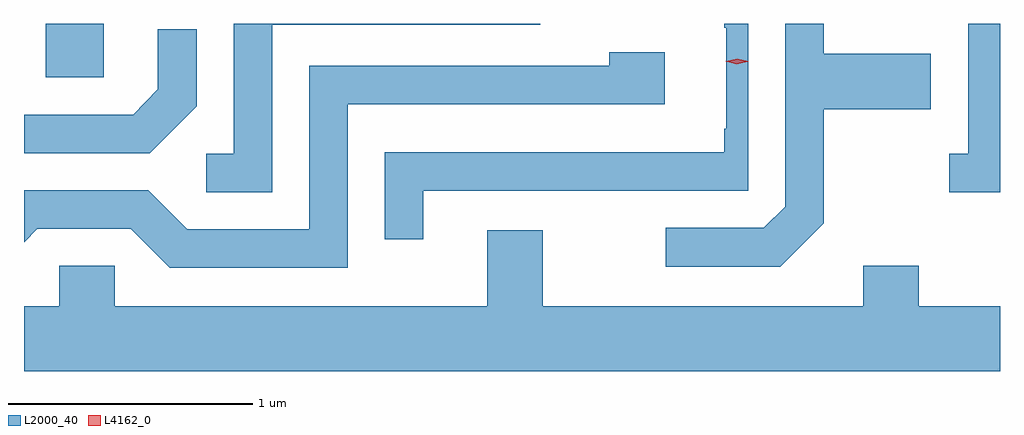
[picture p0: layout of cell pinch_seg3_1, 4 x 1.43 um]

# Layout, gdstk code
import gdstk
lib = gdstk.Library(unit=1e-6, precision=1e-09)
def R(c, l, rs):  # rectangles x0, y0, x1, y1
    for r in rs: c.add(gdstk.rectangle(r[:2], r[2:], *l))
def P(c, l, *ps):  # polygons
    for p in ps: c.add(gdstk.Polygon(p, *l))
L2000_40 = (2000, 40)
L4162_0 = (4162, 0)

pinch_seg3_1 = lib.new_cell('pinch_seg3_1')
R(pinch_seg3_1, L2000_40, [(842.201,1253.761,842.439,1253.982)])
P(pinch_seg3_1, L2000_40, [(843.749,1253.296),(845.081,1253.296),(845.081,1253.982),(844.981,1253.982),(844.981,1253.965),(844.99,1253.965),(844.99,1253.55),(844.981,1253.55),(844.981,1253.454),(843.591,1253.454),(843.591,1253.098),(843.749,1253.098)],
  [(846.112,1253.982),(845.981,1253.982),(845.981,1253.449),(845.903,1253.449),(845.903,1253.291),(846.112,1253.291)],
  [(845.389,1253.164),(845.389,1253.631),(845.829,1253.631),(845.829,1253.859),(845.389,1253.859),(845.389,1253.982),(845.231,1253.982),(845.231,1253.232),(845.144,1253.144),(844.743,1253.144),(844.743,1252.986),(845.212,1252.986)],
  [(843.129,1253.976),(844.228,1253.976),(844.228,1253.982),(842.971,1253.982),(842.971,1253.449),(842.858,1253.449),(842.858,1253.291),(843.129,1253.291)],
  [(842.819,1253.644),(842.819,1253.958),(842.661,1253.958),(842.661,1253.712),(842.559,1253.609),(842.112,1253.609),(842.112,1253.451),(842.627,1253.451)],
  [(843.439,1253.651),(844.739,1253.651),(844.739,1253.864),(844.511,1253.864),(844.511,1253.809),(843.281,1253.809),(843.281,1253.139),(842.782,1253.139),(842.622,1253.299),(842.112,1253.299),(842.112,1253.086),(842.167,1253.141),(842.549,1253.141),(842.709,1252.981),(843.439,1252.981)],
  [(846.112,1252.824),(845.779,1252.824),(845.779,1252.989),(845.551,1252.989),(845.551,1252.824),(844.239,1252.824),(844.239,1253.134),(844.011,1253.134),(844.011,1252.824),(842.484,1252.824),(842.484,1252.989),(842.256,1252.989),(842.256,1252.824),(842.112,1252.824),(842.112,1252.556),(846.112,1252.556)])
P(pinch_seg3_1, L4162_0, [(845.035,1253.817),(844.99,1253.826),(844.989,1253.827),(844.99,1253.827),(845.035,1253.837),(845.08,1253.827),(845.08,1253.827),(845.08,1253.826)],
  [(845.034,1253.816),(844.996,1253.826),(844.995,1253.826),(844.996,1253.827),(845.034,1253.836),(845.072,1253.827),(845.072,1253.826),(845.072,1253.826)])

lib.write_gds('pinch_seg3_1.gds')
